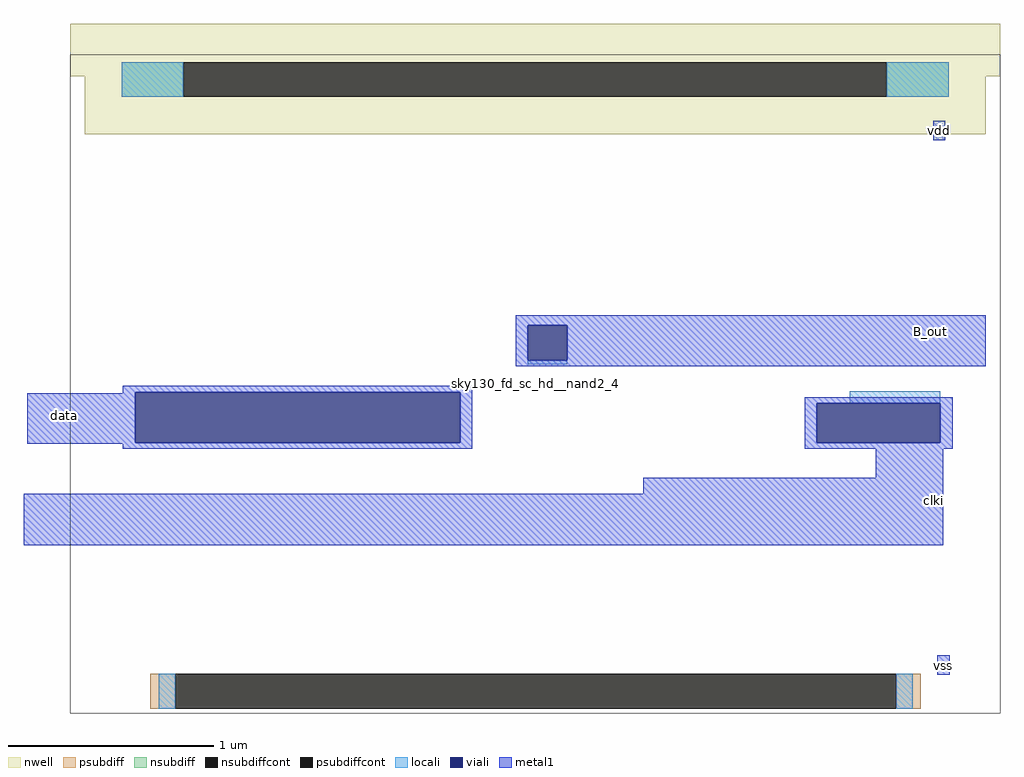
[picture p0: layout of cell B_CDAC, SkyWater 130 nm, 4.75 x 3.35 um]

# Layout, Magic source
magic
tech sky130A
magscale 1 2
<< nwell >>
rect -718 203 186 254
rect -704 147 172 203
rect 121 141 133 147
<< psubdiff >>
rect -640 -412 -616 -378
rect 85 -412 109 -378
<< nsubdiff >>
rect -668 183 -608 217
rect 76 183 136 217
<< psubdiffcont >>
rect -616 -412 85 -378
<< nsubdiffcont >>
rect -608 183 76 217
<< locali >>
rect -668 183 -608 217
rect 76 183 136 217
rect -273 -77 -235 -73
rect 40 -115 128 -103
rect -632 -412 -616 -378
rect 85 -412 101 -378
<< viali >>
rect -273 -73 -235 -39
rect -655 -153 -339 -104
rect 8 -153 128 -115
<< metal1 >>
rect 121 141 133 160
rect -285 -39 172 -29
rect -285 -73 -273 -39
rect -235 -73 172 -39
rect -285 -79 172 -73
rect -667 -104 -327 -98
rect -667 -105 -655 -104
rect -760 -153 -655 -105
rect -339 -153 -327 -104
rect -760 -154 -327 -153
rect -667 -159 -327 -154
rect -4 -115 140 -109
rect -4 -153 8 -115
rect 128 -153 140 -115
rect -4 -159 140 -153
rect 65 -187 131 -159
rect -161 -203 131 -187
rect -763 -253 131 -203
rect 125 -379 137 -360
use sky130_fd_sc_hd__nand2_4  sky130_fd_sc_hd__nand2_4_0 $PDKPATH/libs.ref/sky130_fd_sc_hd/mag
transform 1 0 -680 0 1 -368
box -38 -48 866 592
<< labels >>
flabel metal1 125 -379 137 -360 0 FreeSans 160 0 0 0 vss
port 0 nsew
flabel metal1 115 -219 127 -200 0 FreeSans 160 0 0 0 clki
port 1 nsew
flabel metal1 112 -55 124 -36 0 FreeSans 160 0 0 0 B_out
port 2 nsew
flabel metal1 -730 -136 -718 -117 0 FreeSans 160 0 0 0 data
port 3 nsew
flabel metal1 121 141 133 160 0 FreeSans 160 0 0 0 vdd
port 4 nsew
<< end >>
